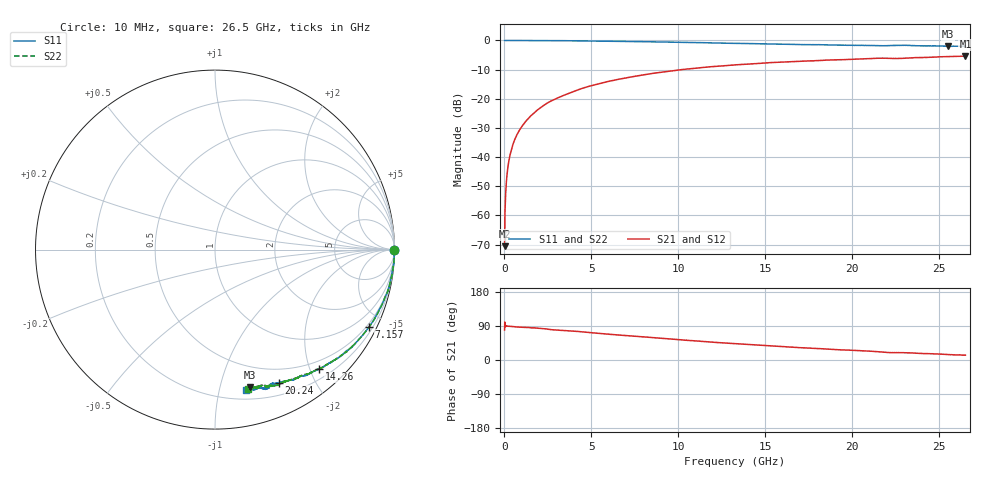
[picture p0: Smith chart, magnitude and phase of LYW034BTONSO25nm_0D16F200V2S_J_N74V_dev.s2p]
!Keysight Technologies,N5222B,MY61253708,A.15.00.15
!Date: Wednesday, June 19, 2024 09:21:56
!Correction: S11(C  2-Port  )
!S21(C  2-Port  )
!S12(C  2-Port  )
!S22(C  2-Port  )
!S2P File: Measurements: S11, S21, S12, S22:
# Hz S  RI  R 50
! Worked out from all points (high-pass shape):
!   2651 points, 10 MHz to 26.5 GHz, reference 50 ohm
!   highest |S21| = -5.37 dB at 26.5 GHz (marker M1); lowest = -70.5 dB at 10 MHz (marker M2)
!   |S21| within 3 dB of the highest: 13.29 GHz to end of sweep
!   lowest |S11| = -2.0 dB at 25.5 GHz (marker M3), VSWR 8.53, Z = 15.2 - j61.8 ohm
!   |S11| at or under -10 dB: nowhere
!   |S22| runs from -2.0 to 0.0 dB; largest |S21 - S12| = 0.0069
!   S11 on the Smith chart (normalised r, x): 10 MHz: open; 7.157 GHz: 0.38, -4.19; 14.26 GHz: 0.36, -2.14; 20.24 GHz: 0.33, -1.54; 26.5 GHz: 0.28, -1.21
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1e7  0.9987 -0.00289  5.57e-05 0.000292  -0.000157 0.000209  0.9985 -0.00127
1.599434e8  0.9998 -0.0116  7.35e-05 0.00541  6.17e-05 0.00546  0.9996 -0.0109
1.999283e8  0.9999 -0.0139  9.71e-05 0.00676  0.000114 0.00683  0.9996 -0.0133
2.499094e8  0.9994 -0.0176  0.000158 0.00843  0.000149 0.0085  0.9993 -0.0168
3.498717e8  0.9995 -0.0243  0.000301 0.0118  0.000282 0.0119  0.9993 -0.0235
4.798226e8  0.9987 -0.0332  0.000541 0.0162  0.000496 0.0163  0.9986 -0.0322
6.397623e8  0.9984 -0.0437  0.000956 0.0215  0.000966 0.0217  0.9983 -0.043
8.296906e8  0.9976 -0.0565  0.00153 0.0278  0.00155 0.028  0.9978 -0.0559
1.449457e9  0.9902 -0.0992  0.00373 0.0488  0.00377 0.0491  0.9924 -0.096
2.329125e9  0.9809 -0.1541  0.0105 0.0791  0.0107 0.0797  0.982 -0.155
3.138819e9  0.9696 -0.2065  0.0212 0.1037  0.0214 0.1044  0.9702 -0.2058
4.428332e9  0.94 -0.2844  0.0401 0.1439  0.0405 0.1448  0.9413 -0.2824
7.157302e9  0.858 -0.4308  0.1028 0.2091  0.1042 0.2102  0.8595 -0.4304
8.846664e9  0.7962 -0.5063  0.1494 0.2384  0.1511 0.2392  0.7967 -0.5057
1.3255e10  0.6178 -0.6441  0.278 0.2603  0.2805 0.26  0.6198 -0.6433
1.426462e10  0.5788 -0.6664  0.3039 0.2564  0.3067 0.2563  0.5801 -0.664
1.767333e10  0.4447 -0.7203  0.3835 0.2303  0.3872 0.2283  0.4533 -0.7182
2.024236e10  0.3574 -0.7433  0.4337 0.2013  0.4366 0.1989  0.3697 -0.7418
2.209166e10  0.3103 -0.7505  0.4647 0.1668  0.4666 0.1635  0.3021 -0.7565
2.308129e10  0.2813 -0.7786  0.4694 0.1625  0.4705 0.1613  0.2796 -0.7591
2.550038e10  0.1924 -0.7664  0.5124 0.1297  0.5139 0.129  0.2108 -0.7693
2.65e10  0.1733 -0.781  0.5257 0.1185  0.5251 0.1144  0.1845 -0.779
